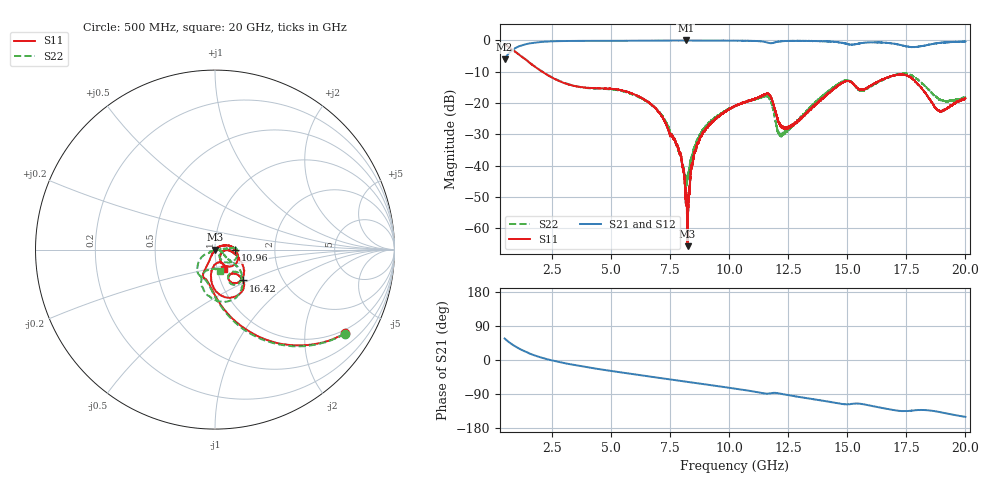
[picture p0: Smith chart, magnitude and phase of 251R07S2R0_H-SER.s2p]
!{201R07S2R0}
!Johanson Technology Inc.
!www.johansontechnology.com
!Test Board Conditions:
!Substrate Type  RO4350B
!Substrate Thickness  10 mil
!Substrate Dk  3.66
!TL Type: GCPW
!TL Trace Width  21 mil
!TL Gap  20 mil
!Electrode orientation  Horizontal
!DUT TOPOLOGY	SERIES
!Mounting Pad LxW  16x21 mil
!Agilent Technologies,N5230A,MY45001966,A.07.50.67
!Agilent N5230A: A.07.50.67
! Created Mon Mar  9 16:26:06 2020
# mhz S ma R 50
! 2 Port Network Data from SP1.SP block
! freq  magS11  angS11  magS21  angS21  magS12  angS12  magS22  angS22
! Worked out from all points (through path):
!   19501 points, 500 MHz to 20 GHz, reference 50 ohm
!   highest |S21| = -0.04 dB at 8.162 GHz (marker M1); lowest = -6.0 dB at 500 MHz (marker M2)
!   group delay of S21, straight-line fit = 24.8 ps
!   lowest |S11| = -65.7 dB at 8.243 GHz (marker M3), VSWR 1.00, Z = 50 - j0.0167 ohm
!   |S11| at or under -10 dB: 2.088 GHz to end of sweep
!   |S22| runs from -46.8 to -1.3 dB; largest |S21 - S12| = 0.015
!   S11 on the Smith chart (normalised r, x): 500 MHz: 0.87, -3.18; 10.96 GHz: 1.25, -0.00; 16.42 GHz: 1.27, -0.46; 20 GHz: 1.08, -0.24
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500  0.8624 -32.8  0.5 56.7  0.5016 56.8  0.8623 -33.0
1692  0.4011 -75.3  0.9115 13.9  0.9109 13.8  0.4044 -76.0
3750  0.1789 -104.4  0.979 -16.6  0.9787 -16.6  0.1781 -107.1
5727  0.1489 -115.9  0.983 -35.4  0.9827 -35.4  0.1457 -132.6
7000  0.07333 -116.8  0.9912 -46.9  0.9913 -46.9  0.07393 -152.5
7886  0.01671 -122.9  0.9933 -54.8  0.993 -54.7  0.01579 -151.3
8162  0.002891 -133.2  0.9951 -57.2  0.9927 -57.1  0.005583 -93.3
8243  0.0005184 -18.8  0.9933 -57.8  0.9924 -57.8  0.00658 -48.9
8464  0.0113 39.6  0.9938 -59.7  0.9939 -59.7  0.01503 -7.4
8733  0.02543 35.2  0.9912 -62.1  0.9928 -62.0  0.02938 -0.0
10250  0.0898 12.3  0.9867 -75.5  0.9859 -75.4  0.09034 4.4
10963  0.112 -0.4  0.9792 -82.5  0.9789 -82.1  0.1102 5.7
11669  0.1394 -35.8  0.9104 -88.7  0.9105 -88.7  0.1234 -28.3
12197  0.04143 -44.9  0.9666 -89.2  0.9693 -89.5  0.03008 -27.3
13500  0.0819 -3.7  0.9766 -102.9  0.9771 -102.8  0.08988 -36.2
14851  0.2158 -42.8  0.8989 -116.4  0.8977 -116.4  0.2248 -48.9
15632  0.1613 -56.9  0.9055 -116.5  0.904 -116.2  0.1569 -53.8
16424  0.231 -48.0  0.923 -125.8  0.9159 -125.8  0.2262 -47.7
16750  0.2585 -51.5  0.9067 -129.6  0.8978 -129.7  0.257 -54.0
17664  0.2575 -82.5  0.7851 -134.1  0.78 -133.7  0.2809 -89.6
18904  0.07415 -79.4  0.9103 -137.2  0.9067 -137.0  0.114 -105.5
20000  0.1184 -65.8  0.9517 -150.2  0.951 -150.0  0.1221 -76.0
